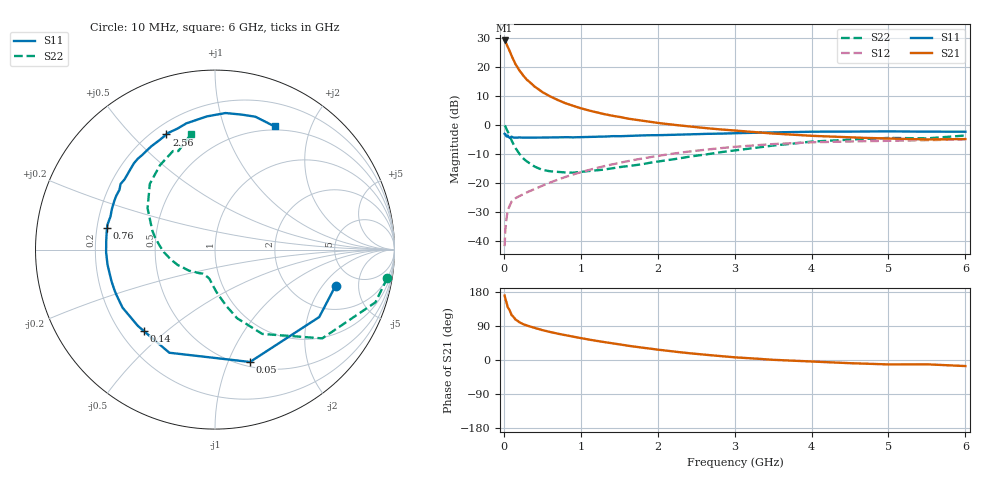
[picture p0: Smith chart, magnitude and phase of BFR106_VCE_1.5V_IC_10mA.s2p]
! Infineon Technologies  Discrete & RF Semiconductors
! BFR106
! VCE =  1.5 V,  IC =  10 mA
! Common Emitter S-Parameters:  Nov 2015
# GHz  S  MA  R  50
!  f  S11  S21  S12  S22
! GHz  MAG  ANG  MAG  ANG  MAG  ANG  MAG  ANG
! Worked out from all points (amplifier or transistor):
!   210 points, 10 MHz to 6 GHz, reference 50 ohm
!   highest |S21| = 29.0 dB at 10 MHz (marker M1)
!   |S21| within 3 dB of that: start of sweep to 64.59 MHz
!   unconditionally stable (mu >= 1): 469 MHz to 2.527 GHz; 4.266 GHz to end of sweep
!   at 185 MHz: K = 0.58, MSG = 22.1 dB, |S12| = -24.7 dB
!   at 1.52 GHz: K = 1.10, MAG = 5.9 dB, |S12| = -13.0 dB
!   at 6 GHz: K = 1.02, MAG = -0.9 dB, |S12| = -4.9 dB
!   S11 on the Smith chart (normalised r, x): 10 MHz: 3.42, -2.72; 50 MHz: 0.55, -1.20; 140 MHz: 0.30, -0.42; 760 MHz: 0.24, +0.09; 2.56 GHz: 0.25, +0.63; 6 GHz: 0.46, +1.50
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0.01  0.7012 -16.7  28.32 170.0  0.0082 82.0  0.9729 -9.3
0.02  0.6917 -32.9  27.28 161.5  0.016 76.0  0.941 -18.2
0.05  0.6557 -72.7  22.29 139.5  0.0337 58.9  0.7758 -39.6
0.1  0.6285 -113.9  15.38 118.8  0.0477 46.1  0.5387 -60.7
0.14  0.6024 -130.9  11.95 110.0  0.0533 43.1  0.4272 -69.3
0.15  0.6045 -135.3  11.15 107.0  0.0547 42.5  0.4014 -72.2
0.2  0.6082 -147.9  8.741 99.9  0.0593 42.6  0.3203 -78.6
0.24  0.6044 -154.9  7.405 95.8  0.0631 43.4  0.2761 -82.9
0.26  0.6039 -158.0  6.854 93.8  0.065 44.0  0.2591 -84.9
0.3  0.603 -163.1  5.966 90.7  0.069 45.6  0.2346 -88.3
0.4  0.6047 -172.1  4.553 84.4  0.0789 49.1  0.1916 -94.7
0.5  0.6069 -178.6  3.669 78.9  0.0897 52.0  0.1685 -99.8
0.6  0.6081 175.6  3.095 73.9  0.1018 54.1  0.1592 -104.2
0.76  0.6134 168.5  2.487 67.1  0.1218 56.1  0.1532 -111.7
1.02  0.6181 157.8  1.9 57.1  0.1561 57.2  0.1563 -122.2
1.4  0.6408 145.2  1.441 44.5  0.2079 55.6  0.1787 -137.4
2.02  0.6658 127.1  1.074 26.9  0.295 48.9  0.2363 -162.2
2.56  0.6968 112.9  0.897 15.0  0.3668 41.1  0.3014 178.0
3.1  0.7241 100.9  0.78 5.9  0.4282 32.1  0.3773 159.9
4.1  0.763 84.2  0.641 -5.0  0.5043 15.8  0.5228 132.3
5.1  0.7713 72.0  0.578 -11.6  0.535 2.7  0.5945 112.6
6  0.7628 64.2  0.57 -16.0  0.5681 -6.8  0.6571 101.7
